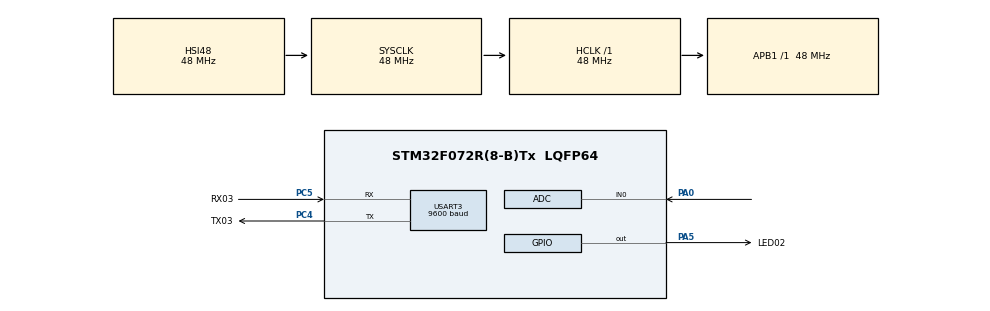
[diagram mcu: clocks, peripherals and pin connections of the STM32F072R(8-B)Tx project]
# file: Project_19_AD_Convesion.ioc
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ADC.ContinuousConvMode=DISABLE
ADC.DiscontinuousConvMode=DISABLE
Mcu.Family=STM32F0
Mcu.Name=STM32F072R(8-B)Tx
Mcu.Package=LQFP64
NVIC.TIM1_BRK_UP_TRG_COM_IRQn=true\:3\:0\:false\:false\:true\:false\:true\:true
NVIC.TimeBase=TIM1_BRK_UP_TRG_COM_IRQn
NVIC.TimeBaseIP=TIM1
NVIC.USART3_4_IRQn=true\:0\:0\:false\:false\:true\:true\:true\:true
PA0.Mode=IN0
PA0.Signal=ADC_IN0
PA5.GPIO_Label=LED02
PA5.Signal=GPIO_Output
PC4.GPIO_Label=TX03
PC4.Mode=Asynchronous
PC4.Signal=USART3_TX
PC5.GPIO_Label=RX03
PC5.Mode=Asynchronous
PC5.Signal=USART3_RX
ProjectManager.HeapSize=0x200
ProjectManager.StackSize=0x400
ProjectManager.TargetToolchain=STM32CubeIDE
RCC.AHBFreq_Value=48000000
RCC.APB1Freq_Value=48000000
RCC.APB1TimFreq_Value=48000000
RCC.HCLKFreq_Value=48000000
RCC.SYSCLKFreq_VALUE=48000000
RCC.SYSCLKSource=RCC_SYSCLKSOURCE_HSI48
USART3.BaudRate=9600
USART3.VirtualMode-Asynchronous=VM_ASYNC
VP_SYS_VS_tim1.Mode=TIM1
board=custom

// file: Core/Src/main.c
/* USER CODE BEGIN Header */
/**
  ******************************************************************************
  * @file           : main.c
  * @brief          : Main program body
  ******************************************************************************
  * @attention
  *
  * Copyright (c) 2022 STMicroelectronics.
  * All rights reserved.
  *
  * This software is licensed under terms that can be found in the LICENSE file
  * in the root directory of this software component.
  * If no LICENSE file comes with this software, it is provided AS-IS.
  *
  ******************************************************************************
  */
/* USER CODE END Header */
#include "main.h"

/* USER CODE BEGIN Includes */

#include "stdlib.h"
#include "stdio.h"

/* USER CODE END Includes */

ADC_HandleTypeDef hadc;

UART_HandleTypeDef huart3;

void SystemClock_Config(void);
static void MX_GPIO_Init(void);
static void MX_ADC_Init(void);
static void MX_USART3_UART_Init(void);
/* USER CODE BEGIN PFP */

void Read_Pin()
{

	double value  = 1.0;
	double raw = 0.0;
	char msg[16] = "";

	HAL_ADC_Start(&hadc);

	HAL_ADC_PollForConversion(&hadc,100);

	raw = (double)HAL_ADC_GetValue(&hadc);

	value  = (raw - 500)/10.0;

	sprintf(msg,"\n\n%f\n\n",value);

	HAL_UART_Transmit(&huart3,(uint8_t*)msg,13,100);

	HAL_Delay(50);

}

/* USER CODE END PFP */

int main(void)
{

  /* MCU Configuration--------------------------------------------------------*/

  /* Reset of all peripherals, Initializes the Flash interface and the Systick. */
  HAL_Init();

  /* Configure the system clock */
  SystemClock_Config();

  /* Initialize all configured peripherals */
  MX_GPIO_Init();
  MX_ADC_Init();
  MX_USART3_UART_Init();

  /* Infinite loop */
  while (1)
  {

    /* USER CODE BEGIN 3 */

	  Read_Pin();
	  HAL_Delay(50);

  }
  /* USER CODE END 3 */
}

void SystemClock_Config(void)
{
  RCC_OscInitTypeDef RCC_OscInitStruct = {0};
  RCC_ClkInitTypeDef RCC_ClkInitStruct = {0};

  /** Initializes the RCC Oscillators according to the specified parameters
  * in the RCC_OscInitTypeDef structure.
  */
  RCC_OscInitStruct.OscillatorType = RCC_OSCILLATORTYPE_HSI14|RCC_OSCILLATORTYPE_HSI48;
  RCC_OscInitStruct.HSI48State = RCC_HSI48_ON;
  RCC_OscInitStruct.HSI14State = RCC_HSI14_ON;
  RCC_OscInitStruct.HSI14CalibrationValue = 16;
  RCC_OscInitStruct.PLL.PLLState = RCC_PLL_NONE;
  if (HAL_RCC_OscConfig(&RCC_OscInitStruct) != HAL_OK)
  {
    Error_Handler();
  }

  /** Initializes the CPU, AHB and APB buses clocks
  */
  RCC_ClkInitStruct.ClockType = RCC_CLOCKTYPE_HCLK|RCC_CLOCKTYPE_SYSCLK
                              |RCC_CLOCKTYPE_PCLK1;
  RCC_ClkInitStruct.SYSCLKSource = RCC_SYSCLKSOURCE_HSI48;
  RCC_ClkInitStruct.AHBCLKDivider = RCC_SYSCLK_DIV1;
  RCC_ClkInitStruct.APB1CLKDivider = RCC_HCLK_DIV1;

  if (HAL_RCC_ClockConfig(&RCC_ClkInitStruct, FLASH_LATENCY_1) != HAL_OK)
  {
    Error_Handler();
  }
}

static void MX_ADC_Init(void)
{

  ADC_ChannelConfTypeDef sConfig = {0};

  /** Configure the global features of the ADC (Clock, Resolution, Data Alignment and number of conversion)
  */
  hadc.Instance = ADC1;
  hadc.Init.ClockPrescaler = ADC_CLOCK_ASYNC_DIV1;
  hadc.Init.Resolution = ADC_RESOLUTION_12B;
  hadc.Init.DataAlign = ADC_DATAALIGN_RIGHT;
  hadc.Init.ScanConvMode = ADC_SCAN_DIRECTION_FORWARD;
  hadc.Init.EOCSelection = ADC_EOC_SINGLE_CONV;
  hadc.Init.LowPowerAutoWait = DISABLE;
  hadc.Init.LowPowerAutoPowerOff = DISABLE;
  hadc.Init.ContinuousConvMode = DISABLE;
  hadc.Init.DiscontinuousConvMode = DISABLE;
  hadc.Init.ExternalTrigConv = ADC_SOFTWARE_START;
  hadc.Init.ExternalTrigConvEdge = ADC_EXTERNALTRIGCONVEDGE_NONE;
  hadc.Init.DMAContinuousRequests = DISABLE;
  hadc.Init.Overrun = ADC_OVR_DATA_PRESERVED;
  if (HAL_ADC_Init(&hadc) != HAL_OK)
  {
    Error_Handler();
  }

  /** Configure for the selected ADC regular channel to be converted.
  */
  sConfig.Channel = ADC_CHANNEL_0;
  sConfig.Rank = ADC_RANK_CHANNEL_NUMBER;
  sConfig.SamplingTime = ADC_SAMPLETIME_1CYCLE_5;
  if (HAL_ADC_ConfigChannel(&hadc, &sConfig) != HAL_OK)
  {
    Error_Handler();
  }

}

static void MX_USART3_UART_Init(void)
{

  huart3.Instance = USART3;
  huart3.Init.BaudRate = 9600;
  huart3.Init.WordLength = UART_WORDLENGTH_8B;
  huart3.Init.StopBits = UART_STOPBITS_1;
  huart3.Init.Parity = UART_PARITY_NONE;
  huart3.Init.Mode = UART_MODE_TX_RX;
  huart3.Init.HwFlowCtl = UART_HWCONTROL_NONE;
  huart3.Init.OverSampling = UART_OVERSAMPLING_16;
  huart3.Init.OneBitSampling = UART_ONE_BIT_SAMPLE_DISABLE;
  huart3.AdvancedInit.AdvFeatureInit = UART_ADVFEATURE_NO_INIT;
  if (HAL_UART_Init(&huart3) != HAL_OK)
  {
    Error_Handler();
  }

}

static void MX_GPIO_Init(void)
{
  GPIO_InitTypeDef GPIO_InitStruct = {0};

  /* GPIO Ports Clock Enable */
  __HAL_RCC_GPIOA_CLK_ENABLE();
  __HAL_RCC_GPIOC_CLK_ENABLE();

  /*Configure GPIO pin Output Level */
  HAL_GPIO_WritePin(LED02_GPIO_Port, LED02_Pin, GPIO_PIN_RESET);

  /*Configure GPIO pin : LED02_Pin */
  GPIO_InitStruct.Pin = LED02_Pin;
  GPIO_InitStruct.Mode = GPIO_MODE_OUTPUT_PP;
  GPIO_InitStruct.Pull = GPIO_NOPULL;
  GPIO_InitStruct.Speed = GPIO_SPEED_FREQ_LOW;
  HAL_GPIO_Init(LED02_GPIO_Port, &GPIO_InitStruct);

}

void HAL_TIM_PeriodElapsedCallback(TIM_HandleTypeDef *htim)
{
  if (htim->Instance == TIM1) {
    HAL_IncTick();
  }
}

void Error_Handler(void)
{
  __disable_irq();
  while (1)
  {
  }
}
